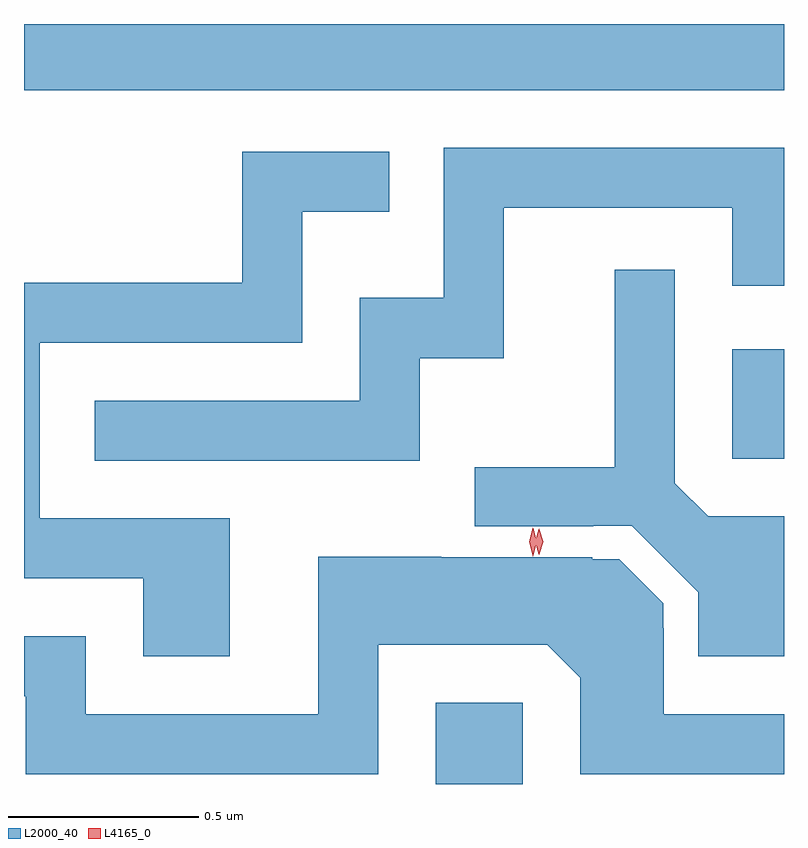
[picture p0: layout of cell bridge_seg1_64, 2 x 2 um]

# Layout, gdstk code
import gdstk
lib = gdstk.Library(unit=1e-6, precision=1e-09)
def R(c, l, rs):  # rectangles x0, y0, x1, y1
    for r in rs: c.add(gdstk.rectangle(r[:2], r[2:], *l))
def P(c, l, *ps):  # polygons
    for p in ps: c.add(gdstk.Polygon(p, *l))
L2000_40 = (2000, 40)
L4165_0 = (4165, 0)

bridge_seg1_64 = lib.new_cell('bridge_seg1_64')
R(bridge_seg1_64, L2000_40, [(1880.121,973.23,1880.349,973.444), (1880.901,974.086,1881.037,974.374), (1879.037,975.056,1881.037,975.23)])
P(bridge_seg1_64, L2000_40, [(1880.079,974.351),(1880.299,974.351),(1880.299,974.746),(1880.901,974.746),(1880.901,974.541),(1881.037,974.541),(1881.037,974.904),(1880.141,974.904),(1880.141,974.509),(1879.921,974.509),(1879.921,974.239),(1879.223,974.239),(1879.223,974.081),(1880.079,974.081)],
  [(1879.579,973.929),(1879.079,973.929),(1879.079,974.391),(1879.769,974.391),(1879.769,974.736),(1879.998,974.736),(1879.998,974.894),(1879.611,974.894),(1879.611,974.549),(1879.037,974.549),(1879.037,973.771),(1879.351,973.771),(1879.351,973.566),(1879.579,973.566)],
  [(1881.037,973.934),(1880.837,973.934),(1880.749,974.022),(1880.749,974.583),(1880.591,974.583),(1880.591,974.064),(1880.223,974.064),(1880.223,973.908),(1880.535,973.908),(1880.535,973.91),(1880.636,973.91),(1880.811,973.734),(1880.811,973.566),(1881.037,973.566)],
  [(1879.969,973.596),(1880.414,973.596),(1880.501,973.509),(1880.501,973.256),(1881.037,973.256),(1881.037,973.414),(1880.72,973.414),(1880.72,973.64),(1880.719,973.64),(1880.719,973.706),(1880.603,973.822),(1880.532,973.822),(1880.532,973.827),(1880.135,973.827),(1880.135,973.828),(1879.811,973.828),(1879.811,973.414),(1879.199,973.414),(1879.199,973.619),(1879.037,973.619),(1879.037,973.461),(1879.041,973.461),(1879.041,973.256),(1879.969,973.256)])
P(bridge_seg1_64, L4165_0, [(1880.393,973.833),(1880.392,973.834),(1880.383,973.867),(1880.392,973.901),(1880.393,973.902),(1880.393,973.901),(1880.403,973.867),(1880.393,973.834)],
  [(1880.376,973.83),(1880.376,973.831),(1880.366,973.867),(1880.376,973.903),(1880.376,973.904),(1880.377,973.903),(1880.386,973.867),(1880.377,973.831)])

lib.write_gds('bridge_seg1_64.gds')
